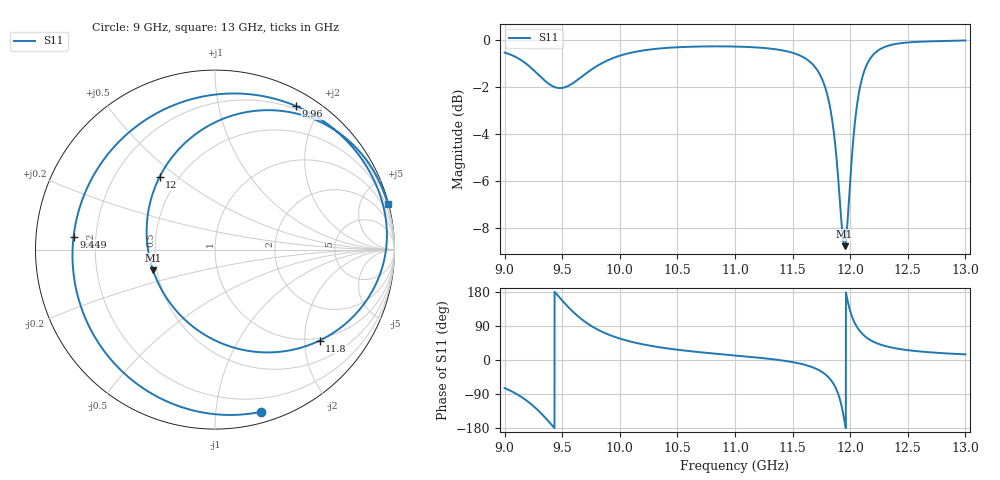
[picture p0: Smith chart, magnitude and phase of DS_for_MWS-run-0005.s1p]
! TOUCHSTONE file generated by CST DESIGN STUDIO
! Date and time: Tue Feb  4 17:57:28 2025
! Project name: C:\Work\MatlabApps\UnitCellOptimizationMatlab\CST\unitcell.cst
! Tree item: Tasks\Sweep1\SPara1\S-Parameters
! Header version: 2024
! Port assignment regex: !\s*Touchstone port\s*([0-9]+)\s*=\s*(CST MWS port|CST DES external port|CST DES block port)\s*(.+)\s* \(\"(.*)\"\)(\s*mode\s*([0-9]+))?.*
! Touchstone port assignment:
! Touchstone port 1 = CST DES external port 1 ("")
# GHz S MA R 50
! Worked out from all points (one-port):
!   4001 points, 9 GHz to 13 GHz, reference 50 ohm
!   lowest |S11| = -8.8 dB at 11.95 GHz (marker M1), VSWR 2.14, Z = 23.8 - j6.37 ohm
!   |S11| at or under -10 dB: nowhere
!   S11 on the Smith chart (normalised r, x): 9 GHz: 0.09, -1.32; 9.449 GHz: 0.12, +0.05; 9.96 GHz: 0.17, +1.70; 11.8 GHz: 0.94, -2.35; 12 GHz: 0.39, +0.43; 13 GHz: 0.09, +7.65
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9  0.9396 -74.1
9.132  0.9092 -94.9
9.235  0.8697 -117.6
9.355  0.8165 -152.9
9.449  0.7914 174.7
9.5  0.7903 157.0
9.594  0.8092 127.2
9.69  0.8422 102.6
9.802  0.8798 81.2
9.96  0.9183 60.6
10  0.9254 56.6
10.215  0.9505 40.5
10.5  0.9644 27.1
11  0.9678 11.9
11.5  0.9386 -5.6
11.684  0.8817 -20.5
11.796  0.7725 -41.0
11.885  0.5468 -81.0
11.917  0.4311 -111.1
11.951  0.3639 -161.4
12  0.501 129.2
12.002  0.5096 127.2
12.037  0.6532 99.4
12.074  0.767 80.3
12.191  0.9245 49.9
12.313  0.9687 36.2
12.5  0.9873 26.0
13  0.9971 14.9
